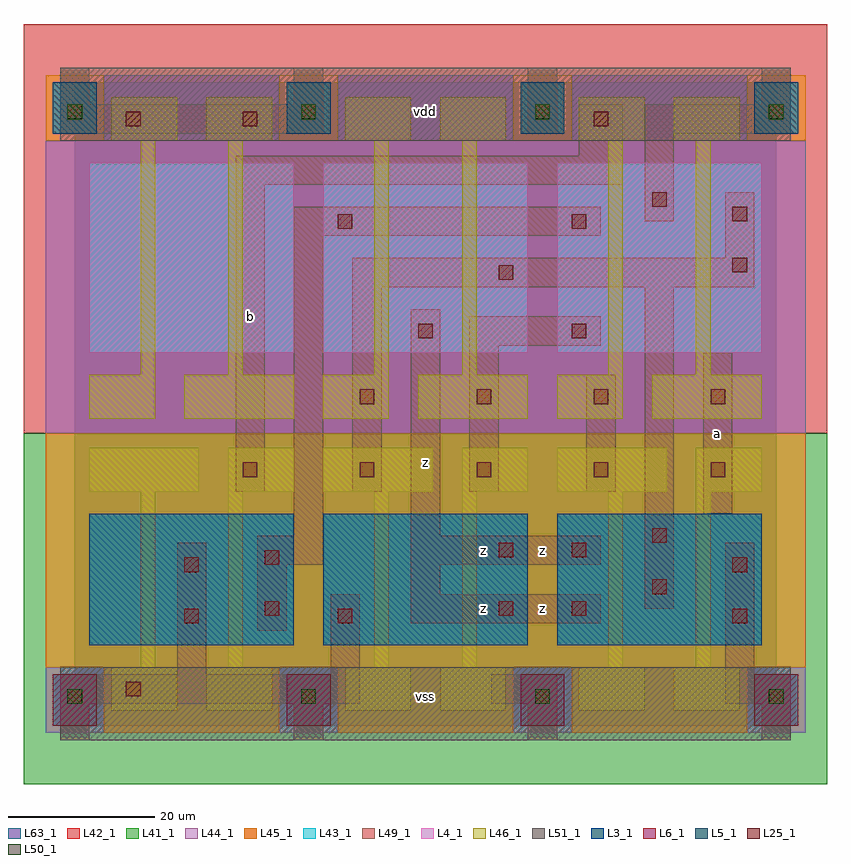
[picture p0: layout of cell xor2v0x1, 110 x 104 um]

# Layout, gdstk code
import gdstk
lib = gdstk.Library(unit=1e-6, precision=1e-09)
def R(c, l, rs):  # rectangles x0, y0, x1, y1
    for r in rs: c.add(gdstk.rectangle(r[:2], r[2:], *l))
def A(c, l, x, y, w, h, nx, ny, dx, dy):  # array of equal rectangles
    R(c, l, [(x+i*dx, y+j*dy, x+i*dx+w, y+j*dy+h) for i in range(nx) for j in range(ny)])
L3_1 = (3, 1)
L4_1 = (4, 1)
L5_1 = (5, 1)
L6_1 = (6, 1)
L25_1 = (25, 1)
L41_1 = (41, 1)
L42_1 = (42, 1)
L43_1 = (43, 1)
L44_1 = (44, 1)
L45_1 = (45, 1)
L46_1 = (46, 1)
L49_1 = (49, 1)
L50_1 = (50, 1)
L51_1 = (51, 1)
L63_1 = (63, 1)

xor2v0x1 = lib.new_cell('xor2v0x1')
A(xor2v0x1, L3_1, 2, 11, 28, 18, 3, 1, 32, 0)
A(xor2v0x1, L4_1, 2, 51, 28, 26, 3, 1, 32, 0)
A(xor2v0x1, L5_1, -3, 81, 6, 7, 4, 1, 32, 0)
R(xor2v0x1, L6_1, [(-3,0,3,7), (-3,0,3,7), (29,0,35,7), (29,0,35,7), (61,0,67,7), (61,0,67,7), (93,0,99,7), (93,0,99,7)])
A(xor2v0x1, L25_1, -1, 3, 2, 2, 4, 2, 32, 80)
A(xor2v0x1, L25_1, 23, 34, 2, 2, 5, 1, 16, 0)
A(xor2v0x1, L25_1, 39, 44, 2, 2, 4, 1, 16, 0)
R(xor2v0x1, L25_1, [(7,4,9,6), (15,14,17,16), (36,14,38,16), (90,14,92,16), (26,15,28,17), (58,15,60,17), (68,15,70,17), (79,18,81,20), (15,21,17,23), (90,21,92,23), (26,22,28,24), (58,23,60,25), (68,23,70,25), (79,25,81,27), (47,53,49,55), (68,53,70,55), (58,61,60,63), (90,62,92,64), (36,68,38,70), (68,68,70,70), (90,69,92,71), (79,71,81,73), (7,82,9,84), (23,82,25,84), (71,82,73,84)])
R(xor2v0x1, L41_1, [(-7,-8,103,40)])
R(xor2v0x1, L42_1, [(-7,40,103,96)])
A(xor2v0x1, L43_1, -3, 0, 6, 7, 4, 2, 32, 81)
A(xor2v0x1, L43_1, 2, 11, 28, 18, 3, 1, 32, 0)
A(xor2v0x1, L43_1, 2, 51, 28, 26, 3, 1, 32, 0)
A(xor2v0x1, L44_1, -4, -1, 8, 9, 4, 1, 32, 0)
A(xor2v0x1, L44_1, 4, 80, 24, 9, 3, 1, 32, 0)
R(xor2v0x1, L44_1, [(-4,40,100,80)])
A(xor2v0x1, L45_1, 4, -1, 24, 9, 3, 1, 32, 0)
A(xor2v0x1, L45_1, -4, 80, 8, 9, 4, 1, 32, 0)
R(xor2v0x1, L45_1, [(-4,8,100,40)])
A(xor2v0x1, L46_1, 2, 32, 15, 6, 3, 1, 32, 0)
A(xor2v0x1, L46_1, 21, 32, 9, 6, 3, 1, 32, 0)
A(xor2v0x1, L46_1, 2, 42, 9, 6, 3, 1, 32, 0)
A(xor2v0x1, L46_1, 15, 42, 15, 6, 3, 1, 32, 0)
R(xor2v0x1, L46_1, [(5,2,14,8), (18,2,27,8), (37,2,46,8), (50,2,59,8), (69,2,78,8), (82,2,91,8), (9,8,11,32), (21,8,23,32), (41,8,43,32), (53,8,55,32), (73,8,75,32), (85,8,87,32), (9,48,11,80), (21,48,23,80), (41,48,43,80), (53,48,55,80), (73,48,75,80), (85,48,87,80), (5,80,14,86), (18,80,27,86), (37,80,46,86), (50,80,59,86), (69,80,78,86), (82,80,91,86)])
A(xor2v0x1, L49_1, -2, -2, 4, 5, 4, 1, 32, 0)
R(xor2v0x1, L49_1, [(-2,3,39,7), (57,3,66,7), (89,3,98,7), (14,7,18,25), (35,7,39,18), (89,7,93,25), (25,13,29,22), (46,14,72,18), (78,16,82,60), (46,18,50,22), (25,22,34,26), (46,22,72,26), (30,26,34,67), (46,26,50,57), (86,29,90,51), (22,32,26,74), (38,32,42,60), (54,32,58,52), (70,32,74,48), (54,52,72,56), (38,60,93,64), (89,64,93,73), (30,67,72,71), (78,69,82,81), (22,74,75,78), (69,78,75,85), (-2,81,34,85), (62,81,66,90), (78,81,98,85), (-2,85,2,90), (30,85,34,90), (94,85,98,90)])
A(xor2v0x1, L50_1, -1, 3, 2, 2, 4, 2, 32, 80)
R(xor2v0x1, L51_1, [(-2,-2,98,8), (-2,80,98,90)])
R(xor2v0x1, L63_1, [(0,0,96,88)])
xor2v0x1.add(gdstk.Label('b', (24,56), layer=49, texttype=1))
xor2v0x1.add(gdstk.Label('z', (56,16), layer=49, texttype=1))
xor2v0x1.add(gdstk.Label('z', (56,24), layer=49, texttype=1))
xor2v0x1.add(gdstk.Label('z', (48,36), layer=49, texttype=1))
xor2v0x1.add(gdstk.Label('z', (64,16), layer=49, texttype=1))
xor2v0x1.add(gdstk.Label('z', (64,24), layer=49, texttype=1))
xor2v0x1.add(gdstk.Label('a', (88,40), layer=49, texttype=1))
xor2v0x1.add(gdstk.Label('vss', (48,4), layer=51, texttype=1))
xor2v0x1.add(gdstk.Label('vdd', (48,84), layer=51, texttype=1))

lib.write_gds('xor2v0x1.gds')
